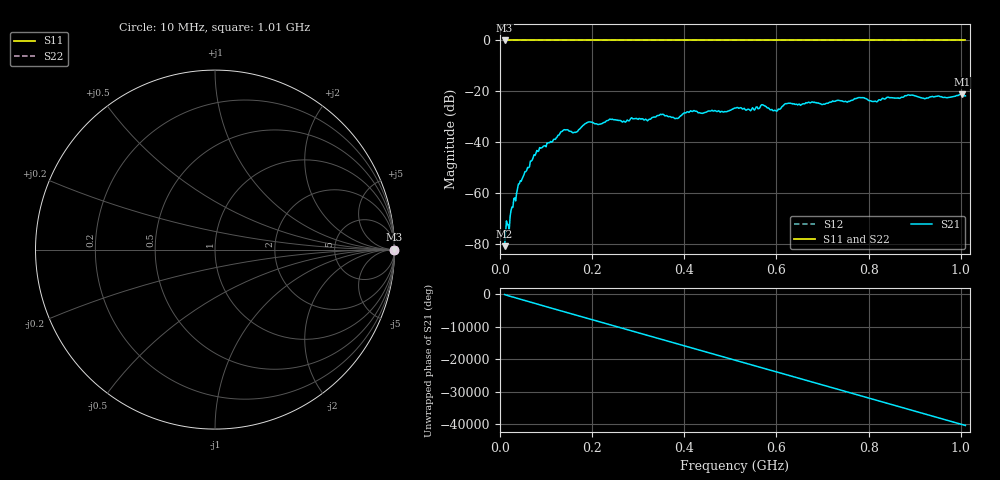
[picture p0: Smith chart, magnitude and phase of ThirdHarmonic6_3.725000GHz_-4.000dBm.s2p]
! 8/17/2025 12:42:53 PM
! C:\ANRITSUVNA\TEMP\TEMP.S2P
! CHANNEL.1
! TR.MEASUREMENT
! RAW.DATA
! RF.CORRECTION.OFF
! AVERAGING.OFF
! IF.BANDWIDTH: 5KHZ
! SWEEPTYPE:  FREQ.SWEEP(Linear)
! Reference Plane Port Info
! PORT:  PORT1  PORT2
! DISTANCE:  0  m  0  m
! TIME:  0  s  0  s
! PHASE.OFFSET:  0  deg.  0  deg.
! LOSS:  0  dB  0  dB
! REF.LOSS:  0  dB  0  dB
! REF.FREQ:  0  Hz  0  Hz
! Power Info
! POWER:  -20  dBm  -20  dBm
! EFF.POWER:  -20  dBm  -20  dBm
! SOURCE.ATTEN:  0  dB  0  dB
! TEST.ATTEN:  0  dB  0  dB
# GHZ S RI R 50.0
! FREQ.GHZ  S11RE  S11IM  S21RE  S21IM  S12RE  S12IM  S22RE  S22IM
!; PortSelection: Port_12
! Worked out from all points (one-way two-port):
!   501 points, 10 MHz to 1.01 GHz, reference 50 ohm
!   highest |S21| = -21.17 dB at 1.002 GHz (marker M1); lowest = -80.9 dB at 10 MHz (marker M2)
!   lowest |S11| = 0.0 dB at 10 MHz (marker M3)
!   |S11| at or under -10 dB: nowhere
!   |S22| runs from 0.0 to 0.0 dB; largest |S21 - S12| = 1.1
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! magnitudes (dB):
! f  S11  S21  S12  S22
! 10 MHz  0.0  -80.9  0.0  0.0
! 40 MHz  0.0  -56.4  0.0  0.0
! 76 MHz  0.0  -45.2  0.0  0.0
! 136 MHz  0.0  -35.6  0.0  0.0
! 162 MHz  0.0  -36.1  0.0  0.0
! 178 MHz  0.0  -33.8  0.0  0.0
! 194 MHz  0.0  -32.0  0.0  0.0
! 322 MHz  0.0  -31.3  0.0  0.0
! 344 MHz  0.0  -29.5  0.0  0.0
! 384 MHz  0.0  -30.7  0.0  0.0
! 416 MHz  0.0  -27.9  0.0  0.0
! 510 MHz  0.0  -26.6  0.0  0.0
! 542 MHz  0.0  -27.4  0.0  0.0
! 570 MHz  0.0  -25.3  0.0  0.0
! 598 MHz  0.0  -27.5  0.0  0.0
! 622 MHz  0.0  -24.9  0.0  0.0
! 678 MHz  0.0  -24.2  0.0  0.0
! 782 MHz  0.0  -22.5  0.0  0.0
! 814 MHz  0.0  -23.9  0.0  0.0
! 844 MHz  0.0  -22.4  0.0  0.0
! 1.002 GHz  0.0  -21.2  0.0  0.0
! 1.01 GHz  0.0  -21.8  0.0  0.0
